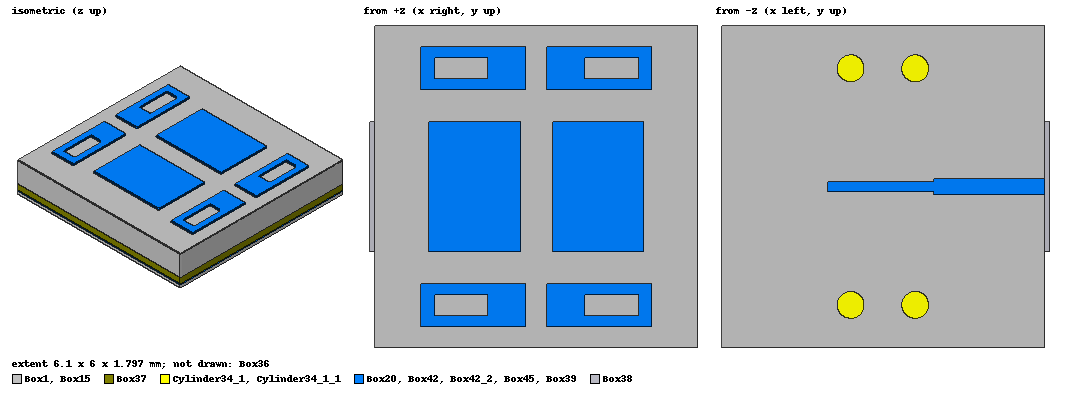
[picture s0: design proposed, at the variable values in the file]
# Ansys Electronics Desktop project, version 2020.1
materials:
  vacuum: permittivity=1
  Rogers RT/duroid 5880 (tm): permittivity=2.2 dielectric_loss_tangent=0.0009
  pec: conductivity=1e+30
  Rogers RO4350 (tm): permittivity=3.66 dielectric_loss_tangent=0.004
  copper: permeability=0.999991 conductivity=58000000
  Material1: permittivity=6.5
  air: permittivity=1.0006 permeability=1.0000004
  Rogers RT/duroid 6002 (tm): permittivity=2.94 dielectric_loss_tangent=0.0012
  RO4450: permittivity=3.52
  Rogers RO3003 (tm): permittivity=3 dielectric_loss_tangent=0.0013
  Rogers RT/duroid 6006 (tm): permittivity=6.15 dielectric_loss_tangent=0.0019
  Rogers RO4003 (tm): permittivity=3.55 dielectric_loss_tangent=0.0027
  Rogers RT/duroid 6010/6010LM (tm): permittivity=10.2 dielectric_loss_tangent=0.0023
  FR-27: permittivity=2.7
  titanium: permeability=1.00018 conductivity=1820000
  Taconic RF-30 (tm): permittivity=3 dielectric_loss_tangent=0.0014
  TPN-30: permittivity=3
  Rogers RO3006 (tm): permittivity=6.15 dielectric_loss_tangent=0.0025
  RO3001: permittivity=2.2
  Rogers RO4232 (tm): permittivity=3.2 dielectric_loss_tangent=0.0018
  RO4403: permittivity=3.17
  FR-25
  perfect conductor: conductivity=1e+30
  teflon(change): permittivity=1.95 dielectric_loss_tangent=0.001

design proposed (HFSS, DrivenModal, model units mm)
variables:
  hf = 0.762mm
  sub_l = 6mm
  h1 = 0.762mm
  wf = 0.3mm  # 0.25
  h3 = 0.1mm
  hp1 = 4.9mil
  hp2 = 0.2mm
  t = 0.035mm
  w1 = 0.32mm
  l2 = 5.5mm  # 4.8
  w2 = wm  # 1.6
  l5 = 0.5mm  # 0.6
  lf = 2.05mm
  lm = 1.48mm
  wm = 0.2mm
  r2 = 0.25mm
  dvia = 2.2mm
  we = 0.8mm
  le = 1.95mm
  dvia1 = 0.6mm
  lb = 2.4mm
  wb = 0.6mm
  db = 0.3mm
  dd = 0.9mm
  h = 2mm
  la = 1mm
  wa = 0.2mm
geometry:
  Box1 [Rogers RT/duroid 5880 (tm)] = box(corner=(-sub_l/2, -sub_l/2, 3*t+hp2), size=(sub_l, sub_l, hf))
  Box15 [Rogers RO4350 (tm)] = box(corner=(-sub_l/2, -sub_l/2, -h3+t*2), size=(sub_l, sub_l, h3))
  Box20 [copper] = box(corner=(-sub_l/2, -sub_l/2, t*2), size=(sub_l, sub_l, t))
  Box26 = box(corner=(-sub_l/2+lf, -wm/2, -h3+t), size=(lm, wm, t))
  Box29 = box(corner=(-w1/2, -l2/2, t*2), size=(w1, l2, t))
  Box35 = box(corner=(-sub_l/2+lf+lm, -w2/2, -h3+t), size=(l5, w2, t))
  Box36 [air] = box(corner=(-sub_l/2-1mm, -sub_l/2-1mm, -h3+t-2mm), size=(sub_l+2mm, sub_l+2mm, h3+h3+hp1+hf+h1+hp2+4mm))
  Box37 [RO4450] = box(corner=(-sub_l/2, -sub_l/2, t*3), size=(sub_l, sub_l, hp2))
  Rectangle1 = rectangle(corner=(-sub_l/2, -4*wf, t*3), y_size=8*wf, z_size=-8*h3)
  Box38 [pec] = box(corner=(-sub_l/2, -4*wf, t*3), size=(-0.1mm, 8*wf, -8*h3))
  Box39 [copper] = box(corner=(-sub_l/2, -wf/2, -h3+t), size=(lf, wf, t))
  Box39.unite(Box35, Box26)
  Cylinder34 = cylinder(axis=Z, base_centre=(-dvia1, dvia, -h3+t*2), radius=r2, height=hf+hp2+H3+t)
  Cylinder34_1 [copper] = Cylinder34.duplicate_mirror(point=(0mm, 0mm, 0mm), normal=(0mm, -1mm, 0mm))
  Box42 [copper] = box(corner=(-we/2+dvia1, dvia-we/2, 3*t+hf+hp2), size=(le, we, t))
  Box42_1 = Box42.duplicate_mirror(point=(0mm, 0mm, 0mm), normal=(0mm, -1mm, 0mm))
  Box42_1.mirror(point=(0mm, 0mm, 0mm), normal=(-1mm, 0mm, 0mm))
  Cylinder35 = cylinder(axis=Z, base_centre=(-dvia1, dvia, t*2-h3), radius=r2, height=hf+hp2+H3+t)
  Cylinder35_1 = Cylinder35.duplicate_mirror(point=(0mm, 0mm, 0mm), normal=(0mm, -1mm, 0mm))
  Cylinder35.unite(Cylinder35_1)
  Cylinder35_2 = Cylinder35.copy()
  Cylinder35.delete()
  Box42.mirror(point=(0mm, 0mm, 0mm), normal=(-1mm, 0mm, 0mm))
  Box20.subtract(Box29)
  Cylinder34_1.unite(Cylinder34)
  Cylinder34_1_1 [copper] = Cylinder34_1.duplicate_mirror(point=(0mm, 0mm, 0mm), normal=(1mm, 0mm, 0mm))
  Box42.unite(Box42_1)
  Box42_2 [copper] = Box42.duplicate_mirror(point=(0mm, 0mm, 0mm), normal=(1mm, 0mm, 0mm))
  Cylinder34_1_2 = Cylinder34_1.duplicate_mirror(point=(0mm, 0mm, 0mm), normal=(1mm, 0mm, 0mm))
  Cylinder34_1_2_1 = Cylinder34_1_2.copy()
  Cylinder34_1_2.delete()
  Cylinder34_1_2_1_1 = Cylinder34_1_2_1.copy()
  Cylinder35_2_1 = Cylinder35_2.copy()
  Box1.subtract(Cylinder34_1_2_1_1, Cylinder35_2_1)
  Cylinder34_1_2_1_2 = Cylinder34_1_2_1.copy()
  Cylinder35_2_2 = Cylinder35_2.copy()
  Box15.subtract(Cylinder34_1_2_1_2, Cylinder35_2_2)
  Cylinder34_1_2_1_3 = Cylinder34_1_2_1.copy()
  Cylinder35_2_3 = Cylinder35_2.copy()
  Box20.subtract(Cylinder34_1_2_1_3, Cylinder35_2_3)
  Box37.subtract(Cylinder34_1_2_1, Cylinder35_2)
  Box45 [copper] = box(corner=(-2mm, -1.2mm, 3*t+hf+hp2), size=(1.7mm, 2.4mm, t))
  Box45_1 = Box45.duplicate_around_axis(axis=Z, angle=180deg, total=2)
  Box45.unite(Box45_1)
  Box46 = box(corner=(dvia1+wa*1.5, dvia-wa, 3*t+hf+hp2), size=(la, wa*2, t))
  Box46_1 = Box46.duplicate_mirror(point=(0mm, 0mm, 0mm), normal=(0mm, -1mm, 0mm))
  Box46.unite(Box46_1)
  Box46_3 = Box46.copy()
  Box46.delete()
  Box46_3_1 = Box46_3.duplicate_mirror(point=(0mm, 0mm, 0mm), normal=(-1mm, 0mm, 0mm))
  Box46_3_2 = Box46_3.copy()
  Box46_3_1_1 = Box46_3_1.copy()
  Box42.subtract(Box46_3_2, Box46_3_1_1)
  Box42_2.subtract(Box46_3, Box46_3_1)
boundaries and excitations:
  Rad1: Radiation Objects=Box36
  1: Wave Port Objects=Rectangle1 NumModes=1 Modes{Mode1{IntLine{middle of Rectangle1.edge(z at corner) -> middle of Rectangle1.edge(z opposite corner)} CharImp=Zpi RenormImp=50ohm}}
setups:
  30: HfssDriven Frequency=30GHz MaxDeltaS=0.02 MaximumPasses=20 MinimumPasses=1 MinimumConvergedPasses=1 PercentRefinement=30 BasisOrder=1 PortAccuracy=2
    sweep Sweep1: 20GHz to 50GHz, 100 points; Type=Discrete SaveFields
  25: HfssDriven Frequency=25GHz MaxDeltaS=0.02 MaximumPasses=20 MinimumPasses=1 MinimumConvergedPasses=1 PercentRefinement=30 BasisOrder=1 PortAccuracy=2
  35: HfssDriven Frequency=35GHz MaxDeltaS=0.02 MaximumPasses=20 MinimumPasses=1 MinimumConvergedPasses=1 PercentRefinement=30 BasisOrder=1 PortAccuracy=2
  40: HfssDriven Frequency=40GHz MaxDeltaS=0.02 MaximumPasses=20 MinimumPasses=1 MinimumConvergedPasses=1 PercentRefinement=30 BasisOrder=1 PortAccuracy=2
  45: HfssDriven Frequency=45GHz MaxDeltaS=0.02 MaximumPasses=20 MinimumPasses=1 MinimumConvergedPasses=1 PercentRefinement=30 BasisOrder=1 PortAccuracy=2
  50: HfssDriven Frequency=50GHz MaxDeltaS=0.02 MaximumPasses=20 MinimumPasses=1 MinimumConvergedPasses=1 PercentRefinement=30 BasisOrder=1 PortAccuracy=2
  28: HfssDriven Frequency=28GHz MaxDeltaS=0.02 MaximumPasses=10 MinimumPasses=1 MinimumConvergedPasses=1 PercentRefinement=30 BasisOrder=1 PortAccuracy=2
  38: HfssDriven Frequency=38GHz MaxDeltaS=0.02 MaximumPasses=10 MinimumPasses=1 MinimumConvergedPasses=1 PercentRefinement=30 BasisOrder=1 PortAccuracy=2
  48: HfssDriven Frequency=48GHz MaxDeltaS=0.02 MaximumPasses=10 MinimumPasses=1 MinimumConvergedPasses=1 PercentRefinement=30 BasisOrder=1 PortAccuracy=2
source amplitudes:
  1:1: 1W 0deg
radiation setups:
  Infinite Sphere1: Infinite Sphere Theta=0deg..0deg step 0deg Phi=0deg..0deg step 0deg
  Infinite Sphere2: Infinite Sphere Theta=-180deg..180deg step 2deg Phi=0deg..90deg step 90deg
  Infinite Sphere3: Infinite Sphere Theta=-180deg..180deg step 2deg Phi=-180deg..180deg step 2deg
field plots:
  Vector_Jsurf1: Jsurf over Box45.face(all 12) on 30 : Sweep1 at Freq=40GHz Phase=0deg
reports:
  S Parameter Plot 1: dB(S(1,1)) vs Freq on 30 : Sweep1; markers m1 at 33.030303GHz, m2 at 47.714286GHz, m3 at 43.728814GHz, m4 at 37.575758GHz, m5 at 23.636364GHz, MY1 at y=-10
  30: dB(RealizedGainTotal) vs Theta on 30 : Sweep1, Infinite Sphere2 [Phi=all Freq=23.0508GHz dd=all]; markers m1 at 180deg
  25: dB(RealizedGainPhi), dB(RealizedGainTheta) vs Theta on 25 : LastAdaptive, Infinite Sphere2 [Phi=all Freq=25GHz dd=all]; dB(RealizedGainPhi), dB(RealizedGainTheta) vs Theta on 30 : LastAdaptive, Infinite Sphere2 [Phi=all Freq=30GHz dd=all]; dB(RealizedGainPhi), dB(RealizedGainTheta) vs Theta on 35 : LastAdaptive, Infinite Sphere2 [Phi=all Freq=35GHz dd=all]; dB(RealizedGainPhi), dB(RealizedGainTheta) vs Theta on 40 : LastAdaptive, Infinite Sphere2 [Phi=all Freq=40GHz dd=all]; dB(RealizedGainPhi), dB(RealizedGainTheta) vs Theta on 45 : LastAdaptive, Infinite Sphere2 [Phi=all Freq=45GHz dd=all]
  35: dB(RealizedGainTotal) vs Theta on 35 : LastAdaptive, Infinite Sphere2 [Phi=all Freq=35GHz dd=all]; markers m1 at 0deg
  40: dB(RealizedGainTotal) vs Theta on 40 : LastAdaptive, Infinite Sphere2 [Phi=all Freq=40GHz dd=all]; markers m1 at 0deg
  45: dB(RealizedGainTotal) vs Theta on 45 : LastAdaptive, Infinite Sphere2 [Phi=all Freq=45GHz dd=all]; markers m1 at 0deg
  50: dB(RealizedGainTotal) vs Theta on 50 : LastAdaptive, Infinite Sphere2 [Phi=all Freq=50GHz sub_l=all wf=all w1=all wm=all dvia=all we=all le=all wb=all dd=all]; markers m1 at 0deg
  Realized Gain Plot 1: dB(RealizedGainTotal) vs Theta on 30 : Sweep1, Infinite Sphere2 [Phi=all Freq=50.0671GHz]
  Realized Gain Plot 3: dB(RealizedGainTotal) vs Theta on 50 : LastAdaptive, Infinite Sphere2 [Phi=all Freq=50GHz]
  Realized Gain Plot 4: dB(RealizedGainTotal) vs Phi, Theta on 40 : LastAdaptive, Infinite Sphere3 [Freq=40GHz]
  Realized Gain Plot 5: dB(RealizedGainTotal) vs Phi, Theta on 30 : LastAdaptive, Infinite Sphere3 [Freq=30GHz]
  Realized Gain Plot 6: dB(RealizedGainTotal) vs Theta on 40 : LastAdaptive, Infinite Sphere2 [Phi=all Freq=40GHz]
  Gain Plot 1: dB(RealizedGainPhi), dB(RealizedGainTheta) vs Theta on 28 : LastAdaptive, Infinite Sphere2 [Phi=all Freq=28GHz dvia1=all]
  Realized Gain Plot 7: dB(RealizedGainPhi), dB(RealizedGainTheta) vs Theta on 38 : LastAdaptive, Infinite Sphere2 [Phi=all Freq=38GHz dvia1=all]
  Realized Gain Plot 8: dB(RealizedGainPhi), dB(RealizedGainTheta) vs Theta on 48 : LastAdaptive, Infinite Sphere2 [Phi=all Freq=48GHz dvia1=all]
  Realized Gain Plot 9: dB(RealizedGainTotal) vs Freq on 30 : Sweep1, Infinite Sphere1 [Phi=all Theta=all dvia1=all]; markers m1 at 48.474576GHz, m2 at 45.084746GHz, m3 at 39.090909GHz, m4 at 34.237288GHz, m5 at 29.491525GHz, m6 at 26.779661GHz, m7 at 24.745763GHz, m8 at 23.050847GHz
  Z Parameter Plot 1: re(Z(1,1)), im(Z(1,1)) vs Freq on 30 : Sweep1 [wb=all]; markers m1 at 33.939394GHz
